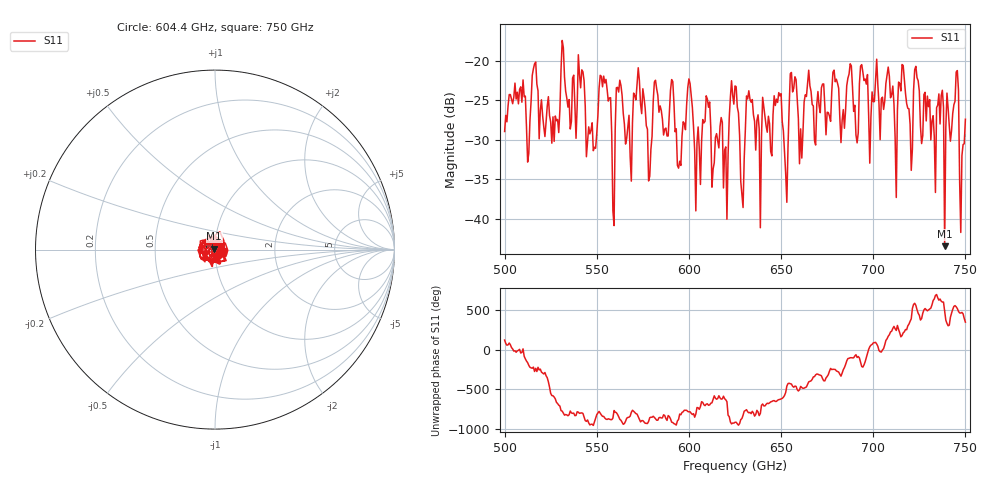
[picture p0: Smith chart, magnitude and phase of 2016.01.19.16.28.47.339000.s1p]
!Created with skrf (http://scikit-rf.org).
# GHz S RI R 50.0
!freq ReS11 ImS11
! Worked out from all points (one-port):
!   401 points, 500 GHz to 750 GHz, reference 50 ohm
!   lowest |S11| = -43.4 dB at 738.8 GHz (marker M1), VSWR 1.01, Z = 49.5 + j0.491 ohm
!   |S11| at or under -10 dB: start of sweep to end of sweep
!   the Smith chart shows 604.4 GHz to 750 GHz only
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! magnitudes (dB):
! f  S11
! 500 GHz  -28.9
! 513.1 GHz  -31.7
! 516.2 GHz  -20.4
! 528.1 GHz  -27.6
! 531.2 GHz  -17.4
! 548.8 GHz  -30.9
! 553.8 GHz  -21.9
! 558.8 GHz  -39.0
! 562.5 GHz  -22.4
! 578.8 GHz  -34.6
! 590.6 GHz  -22.4
! 593.8 GHz  -33.2
! 600 GHz  -22.3
! 605 GHz  -28.4
! 610 GHz  -24.8
! 620 GHz  -30.9
! 625 GHz  -23.2
! 628.8 GHz  -37.0
! 632.5 GHz  -23.8
! 637.5 GHz  -26.8
! 648.8 GHz  -24.0
! 652.5 GHz  -34.3
! 656.2 GHz  -23.9
! 660.6 GHz  -28.6
! 687.5 GHz  -20.4
! 718.8 GHz  -26.0
! 738.8 GHz  -43.4
! 750 GHz  -27.4
